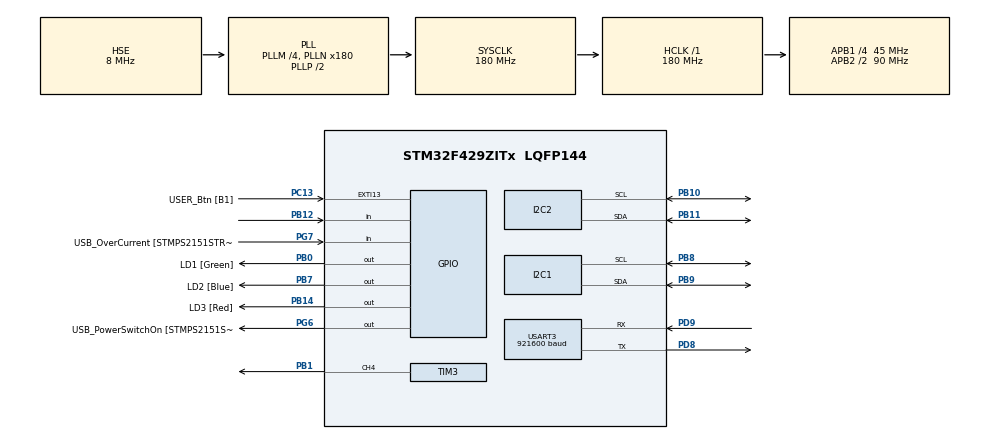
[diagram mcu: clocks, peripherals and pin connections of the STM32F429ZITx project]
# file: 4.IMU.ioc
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Mcu.Family=STM32F4
Mcu.Name=STM32F429ZITx
Mcu.Package=LQFP144
NVIC.PriorityGroup=NVIC_PRIORITYGROUP_4
NVIC.TIM3_IRQn=true\:0\:0\:false\:false\:true\:true\:true\:true
NVIC.USART3_IRQn=true\:0\:0\:false\:false\:true\:true\:true\:true
PA1.GPIO_Label=RMII_REF_CLK [LAN8742A-CZ-TR_REFCLK0]
PA1.Signal=ETH_REF_CLK
PA10.GPIO_Label=USB_ID
PA10.Signal=USB_OTG_FS_ID
PA11.GPIO_Label=USB_DM
PA11.Signal=USB_OTG_FS_DM
PA12.GPIO_Label=USB_DP
PA12.Signal=USB_OTG_FS_DP
PA13.GPIO_Label=TMS
PA13.Mode=Serial_Wire
PA13.Signal=SYS_JTMS-SWDIO
PA14.GPIO_Label=TCK
PA14.Mode=Serial_Wire
PA14.Signal=SYS_JTCK-SWCLK
PA2.GPIO_Label=RMII_MDIO [LAN8742A-CZ-TR_MDIO]
PA2.Signal=ETH_MDIO
PA7.GPIO_Label=RMII_CRS_DV [LAN8742A-CZ-TR_CRS_DV]
PA7.Signal=ETH_CRS_DV
PA8.GPIO_Label=USB_SOF [TP1]
PA8.Signal=USB_OTG_FS_SOF
PA9.GPIO_Label=USB_VBUS
PA9.Signal=USB_OTG_FS_VBUS
PB0.GPIO_Label=LD1 [Green]
PB0.Signal=GPIO_Output
PB1.Signal=S_TIM3_CH4
PB10.Mode=I2C
PB10.Signal=I2C2_SCL
PB11.Mode=I2C
PB11.Signal=I2C2_SDA
PB12.Signal=GPIO_Input
PB13.GPIO_Label=RMII_TXD1 [LAN8742A-CZ-TR_TXD1]
PB13.Signal=ETH_TXD1
PB14.GPIO_Label=LD3 [Red]
PB14.Signal=GPIO_Output
PB7.GPIO_Label=LD2 [Blue]
PB7.Signal=GPIO_Output
PB8.Mode=I2C
PB8.Signal=I2C1_SCL
PB9.Mode=I2C
PB9.Signal=I2C1_SDA
PC1.GPIO_Label=RMII_MDC [LAN8742A-CZ-TR_MDC]
PC1.Signal=ETH_MDC
PC13.GPIO_Label=USER_Btn [B1]
PC13.Signal=GPXTI13
PC14/OSC32_IN.Mode=LSE-External-Clock-Source
PC14/OSC32_IN.Signal=RCC_OSC32_IN
PC15/OSC32_OUT.Mode=LSE-External-Clock-Source
PC15/OSC32_OUT.Signal=RCC_OSC32_OUT
PC4.GPIO_Label=RMII_RXD0 [LAN8742A-CZ-TR_RXD0]
PC4.Signal=ETH_RXD0
PC5.GPIO_Label=RMII_RXD1 [LAN8742A-CZ-TR_RXD1]
PC5.Signal=ETH_RXD1
PD8.Mode=Asynchronous
PD8.Signal=USART3_TX
PD9.Mode=Asynchronous
PD9.Signal=USART3_RX
PG11.GPIO_Label=RMII_TX_EN [LAN8742A-CZ-TR_TXEN]
PG11.Signal=ETH_TX_EN
PG13.GPIO_Label=RMII_TXD0 [LAN8742A-CZ-TR_TXD0]
PG13.Signal=ETH_TXD0
PG6.GPIO_Label=USB_PowerSwitchOn [STMPS2151STR_EN]
PG6.Signal=GPIO_Output
PG7.GPIO_Label=USB_OverCurrent [STMPS2151STR_FAULT]
PG7.Signal=GPIO_Input
PH0/OSC_IN.GPIO_Label=MCO [STM32F103CBT6_PA8]
PH0/OSC_IN.Mode=HSE-External-Oscillator
PH0/OSC_IN.Signal=RCC_OSC_IN
PH1/OSC_OUT.Mode=HSE-External-Oscillator
PH1/OSC_OUT.Signal=RCC_OSC_OUT
ProjectManager.HeapSize=0x200
ProjectManager.StackSize=0x400
ProjectManager.TargetToolchain=STM32CubeIDE
RCC.48MHZClocksFreq_Value=90000000
RCC.AHBFreq_Value=180000000
RCC.APB1CLKDivider=RCC_HCLK_DIV4
RCC.APB1Freq_Value=45000000
RCC.APB1TimFreq_Value=90000000
RCC.APB2CLKDivider=RCC_HCLK_DIV2
RCC.APB2Freq_Value=90000000
RCC.APB2TimFreq_Value=180000000
RCC.CortexFreq_Value=180000000
RCC.HCLKFreq_Value=180000000
RCC.HSE_VALUE=8000000
RCC.HSI_VALUE=16000000
RCC.LSE_VALUE=32768
RCC.PLLM=4
RCC.PLLMUL=RCC_PLL_MUL9
RCC.PLLN=180
RCC.PLLSourceVirtual=RCC_PLLSOURCE_HSE
RCC.PRESCALERUSB=RCC_USBCLKSOURCE_PLL_DIV1_5
RCC.SYSCLKFreq_VALUE=180000000
RCC.SYSCLKSource=RCC_SYSCLKSOURCE_PLLCLK
RCC.SYSCLKSourceVirtual=RCC_SYSCLKSOURCE_PLLCLK
RCC.USBFreq_Value=48000000
RCC.VCOOutputFreq_Value=360000000
SH.S_TIM3_CH4.0=TIM3_CH4,PWM Generation4 CH4
TIM3.AutoReloadPreload=TIM_AUTORELOAD_PRELOAD_ENABLE
TIM3.Channel-PWM\ Generation4\ CH4=TIM_CHANNEL_4
TIM3.Period=30-1
TIM3.Prescaler=999
TIM3.Pulse-PWM\ Generation4\ CH4=14
USART3.BaudRate=921600
USART3.VirtualMode=VM_ASYNC
VP_TIM3_VS_ClockSourceINT.Mode=Internal
board=NUCLEO-F429ZI

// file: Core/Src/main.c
/* USER CODE BEGIN Header */
/**
  ******************************************************************************
  * @file           : main.c
  * @brief          : Main program body
  ******************************************************************************
  * @attention
  *
  * Copyright (c) 2022 STMicroelectronics.
  * All rights reserved.
  *
  * This software is licensed under terms that can be found in the LICENSE file
  * in the root directory of this software component.
  * If no LICENSE file comes with this software, it is provided AS-IS.
  *
  ******************************************************************************
  */
/* USER CODE END Header */
#include "main.h"
#include "i2c.h"
#include "tim.h"
#include "usart.h"
#include "gpio.h"

/* USER CODE BEGIN Includes */
#include "stdio.h"
#include "HW579.h"
/* USER CODE END Includes */

/* USER CODE BEGIN PV */
HW579 hw579;
AxisData compassData;
AccelData accelData;
GyroData gyroData;

extern uint8_t uart3_rx_flag;
extern uint8_t uart3_rx_data;
/* USER CODE END PV */

void SystemClock_Config(void);
/* USER CODE BEGIN PFP */
int _write(uint32_t file, uint8_t* ptr, uint32_t len )
{

	for(int i = 0; i < len; i++)
	{
		LL_USART_TransmitData8(USART3, *(ptr+i));
		HAL_Delay(1);
	}

	return len;

	//if(HAL_UART_Transmit(&huart3, ptr, len, len) == HAL_OK) return len;
	//else return 0;
}
/* USER CODE END PFP */

int main(void)
{

  /* MCU Configuration--------------------------------------------------------*/

  /* Reset of all peripherals, Initializes the Flash interface and the Systick. */
  HAL_Init();

  /* Configure the system clock */
  SystemClock_Config();

  /* Initialize all configured peripherals */
  MX_GPIO_Init();
  MX_USART3_UART_Init();
  MX_TIM3_Init();
  MX_I2C1_Init();
  MX_I2C2_Init();
  /* USER CODE BEGIN 2 */
  HW579_Init(&hw579, I2C1, 1.3);

  LL_TIM_EnableCounter(TIM3);
  LL_USART_EnableIT_RXNE(USART3);	// Receive Complete Interrupt -> IRQ Handler

  /* USER CODE END 2 */

  /* Infinite loop */
  /* USER CODE BEGIN WHILE */
  LL_TIM_CC_EnableChannel(TIM3, LL_TIM_CHANNEL_CH4);
  for(int i=0; i< 4; i++)
   	  {
   		  TIM3->PSC = 3000 - 500*i;
   		  //printf("TIM3->PSC : %ld\r\n", TIM3->PSC);
   		  HAL_Delay(100);

   	  }
   LL_TIM_CC_DisableChannel(TIM3, LL_TIM_CHANNEL_CH4);

//  float f = 1.234;
//  int32_t fToInt = (int32_t)(f * 1000);
//  printf("%f %ld\r\n", f, fToInt);

//  float a = 1.3f;
//  if(a==1.3f)printf("a float\r\n");
//  else printf("a float not working\r\n");

  Calibrate_Gyro(hw579.GYRO, &gyroData, 1000, 2);

  printf("%f %f %f\r\n", gyroData.base_gyro_X, gyroData.base_gyro_Y, gyroData.base_gyro_Z);
  uint8_t debug_buffer[256];

  while (1)
  {
    /* USER CODE END WHILE */

    /* USER CODE BEGIN 3 */

	  Read_Magneto((hw579.MAGNETO), &compassData);
	  Read_Accel(hw579.ACCEL, &accelData);
	  Read_Gyro(hw579.GYRO, &gyroData);
	  Read_Gyro_Temperature(hw579.GYRO, &gyroData);
	  sprintf((char*)debug_buffer, "MAGNETO_RAW : %5d %5d %5d | ACCEL_RAW   : %5d %5d %5d | GYRO_RAW    : %5d %5d %5d | %4.2f",
			  compassData.XAxis, compassData.YAxis, compassData.ZAxis,
			  accelData.raw_accel_X, accelData.raw_accel_Y, accelData.raw_accel_Z,
			  gyroData.raw_gyro_X, gyroData.raw_gyro_Y, gyroData.raw_gyro_Z, gyroData.gyro_Temp);
	  printf("%s\r\n", debug_buffer);

	  //printf("%lf\r\n", (double)fToInt/1000);
	  //fToInt += 1;
	  HAL_Delay(500);

	  if(uart3_rx_flag == 1)
	  {
		  uart3_rx_flag = 0;
		  LL_USART_TransmitData8(USART3, uart3_rx_data);	// Transmit received data
		  switch(uart3_rx_data)
		  {
		  	  case '0':
		  		  LL_GPIO_TogglePin(GPIOB, LL_GPIO_PIN_0| LL_GPIO_PIN_7|LL_GPIO_PIN_14);
		  		  HAL_Delay(500);
		  		  break;

		  	  case '1': LL_TIM_CC_EnableChannel(TIM3, LL_TIM_CHANNEL_CH4); break;
		  	  case '2': LL_TIM_CC_DisableChannel(TIM3, LL_TIM_CHANNEL_CH4); break;
		  }
	  }

  }
  /* USER CODE END 3 */
}

void SystemClock_Config(void)
{
  RCC_OscInitTypeDef RCC_OscInitStruct = {0};
  RCC_ClkInitTypeDef RCC_ClkInitStruct = {0};

  /** Configure the main internal regulator output voltage
  */
  __HAL_RCC_PWR_CLK_ENABLE();
  __HAL_PWR_VOLTAGESCALING_CONFIG(PWR_REGULATOR_VOLTAGE_SCALE1);

  /** Initializes the RCC Oscillators according to the specified parameters
  * in the RCC_OscInitTypeDef structure.
  */
  RCC_OscInitStruct.OscillatorType = RCC_OSCILLATORTYPE_HSE;
  RCC_OscInitStruct.HSEState = RCC_HSE_ON;
  RCC_OscInitStruct.PLL.PLLState = RCC_PLL_ON;
  RCC_OscInitStruct.PLL.PLLSource = RCC_PLLSOURCE_HSE;
  RCC_OscInitStruct.PLL.PLLM = 4;
  RCC_OscInitStruct.PLL.PLLN = 180;
  RCC_OscInitStruct.PLL.PLLP = RCC_PLLP_DIV2;
  RCC_OscInitStruct.PLL.PLLQ = 4;
  if (HAL_RCC_OscConfig(&RCC_OscInitStruct) != HAL_OK)
  {
    Error_Handler();
  }

  /** Activate the Over-Drive mode
  */
  if (HAL_PWREx_EnableOverDrive() != HAL_OK)
  {
    Error_Handler();
  }

  /** Initializes the CPU, AHB and APB buses clocks
  */
  RCC_ClkInitStruct.ClockType = RCC_CLOCKTYPE_HCLK|RCC_CLOCKTYPE_SYSCLK
                              |RCC_CLOCKTYPE_PCLK1|RCC_CLOCKTYPE_PCLK2;
  RCC_ClkInitStruct.SYSCLKSource = RCC_SYSCLKSOURCE_PLLCLK;
  RCC_ClkInitStruct.AHBCLKDivider = RCC_SYSCLK_DIV1;
  RCC_ClkInitStruct.APB1CLKDivider = RCC_HCLK_DIV4;
  RCC_ClkInitStruct.APB2CLKDivider = RCC_HCLK_DIV2;

  if (HAL_RCC_ClockConfig(&RCC_ClkInitStruct, FLASH_LATENCY_5) != HAL_OK)
  {
    Error_Handler();
  }
}

void Error_Handler(void)
{
  __disable_irq();
  while (1)
  {
  }
}
